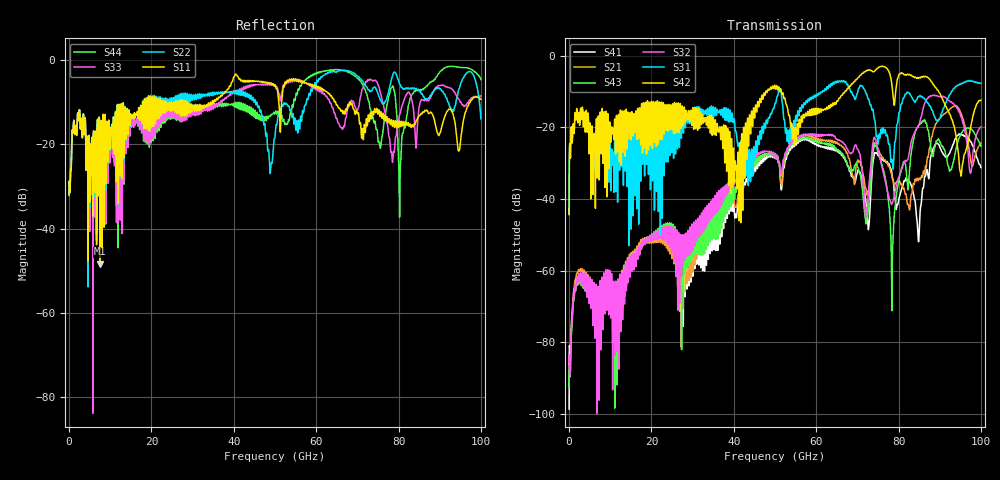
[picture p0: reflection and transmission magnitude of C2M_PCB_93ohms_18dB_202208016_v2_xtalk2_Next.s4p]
! Info: Touchstone file created by Circ.  Input file=Intel_C2M_200G_6p0in_202208016_staggered.circ
# Hz S RI R 50
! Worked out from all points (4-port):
!   10000 points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, 10 MHz to 100 GHz, reference 50 ohm
!   strongest paths, dB at 10 MHz, 25.01 GHz, 50.01 GHz, 75.01 GHz, 100 GHz:
!     S42: -44.2, -16.4, -8.6, -3.4, -12.4
!     S31: -44.4, -20.3, -13.3, -24.7, -7.7
!     S32: -83.7, -54.5, -27.4, -26.1, -19.9
!     S43: -91.4, -50.5, -27.6, -26.8, -25.2
!     S21: -85.2, -56.6, -27.6, -26.1, -24.4
!     S41: -98.7, -52.1, -27.9, -27.9, -31.2
!   lowest |S11| = -48.3 dB at 7.56 GHz (marker M1), VSWR 1.01, Z = 50.3 - j0.27 ohm
!   |S11| at or under -10 dB: start of sweep to 17.87 GHz; 28.79 GHz to 34.32 GHz (5.524 GHz wide, 17.5 % of centre); 68.26 GHz to 97.38 GHz (29.13 GHz wide, 35.2 % of centre)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
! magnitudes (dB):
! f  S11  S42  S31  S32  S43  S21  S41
! 10 MHz  -31.9  -44.2  -44.4  -83.7  -91.4  -85.2  -98.7
! 7.56 GHz  -48.3  -15.8  -18.2  -63.1  -66.9  -64.7  -67.9
! 56.36 GHz  -5.1  -17.0  -15.1  -22.3  -22.7  -22.3  -23.0
! 74.54 GHz  -12.2  -3.9  -22.1  -23.8  -25.4  -24.7  -27.2
! 78.41 GHz  -15.0  -8.3  -28.9  -41.4  -64.9  -33.8  -33.1
! 84.99 GHz  -13.2  -6.1  -11.4  -19.1  -19.4  -34.3  -50.1
! 100 GHz  -9.3  -12.4  -7.7  -19.9  -25.2  -24.4  -31.2
